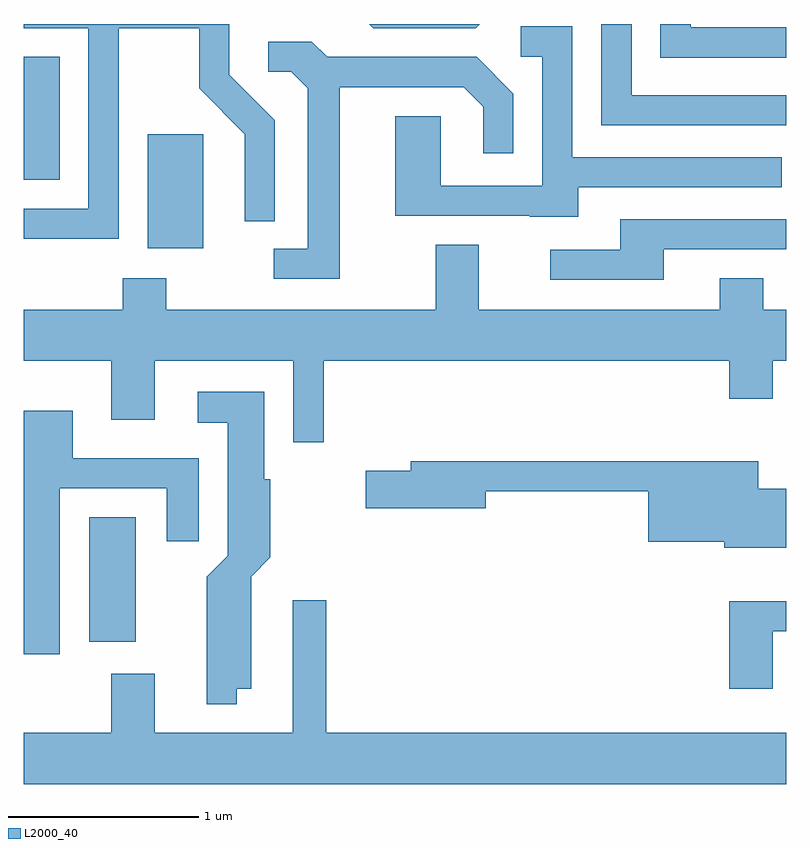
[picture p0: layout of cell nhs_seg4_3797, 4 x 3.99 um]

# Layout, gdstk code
import gdstk
lib = gdstk.Library(unit=1e-6, precision=1e-09)
def R(c, l, rs):  # rectangles x0, y0, x1, y1
    for r in rs: c.add(gdstk.rectangle(r[:2], r[2:], *l))
def P(c, l, *ps):  # polygons
    for p in ps: c.add(gdstk.Polygon(p, *l))
L2000_40 = (2000, 40)

nhs_seg4_3797 = lib.new_cell('nhs_seg4_3797')
R(nhs_seg4_3797, L2000_40, [(295.956,1368.741,296.199,1369.394), (296.261,1370.806,296.554,1371.404), (295.611,1371.166,295.799,1371.809)])
P(nhs_seg4_3797, L2000_40, [(299.611,1371.609),(298.799,1371.609),(298.799,1371.982),(298.641,1371.982),(298.641,1371.451),(299.611,1371.451)],
  [(298.003,1371.982),(297.423,1371.982),(297.444,1371.961),(297.982,1371.961)],
  [(296.109,1371.961),(296.531,1371.961),(296.531,1371.644),(296.771,1371.404),(296.771,1370.948),(296.929,1370.948),(296.929,1371.477),(296.689,1371.717),(296.689,1371.982),(295.611,1371.982),(295.611,1371.961),(295.951,1371.961),(295.951,1371.014),(295.611,1371.014),(295.611,1370.856),(296.109,1370.856)],
  [(299.611,1371.964),(299.109,1371.964),(299.109,1371.982),(298.951,1371.982),(298.951,1371.806),(299.611,1371.806)],
  [(298.519,1371.126),(299.588,1371.126),(299.588,1371.284),(298.489,1371.284),(298.489,1371.969),(298.218,1371.969),(298.218,1371.811),(298.331,1371.811),(298.331,1371.134),(297.799,1371.134),(297.799,1371.499),(297.561,1371.499),(297.561,1370.976),(298.265,1370.976),(298.265,1370.971),(298.519,1370.971)],
  [(297.269,1371.651),(297.919,1371.651),(298.021,1371.549),(298.021,1371.303),(298.179,1371.303),(298.179,1371.617),(297.987,1371.809),(297.202,1371.809),(297.122,1371.889),(296.893,1371.889),(296.893,1371.731),(297.014,1371.731),(297.101,1371.644),(297.101,1370.804),(296.923,1370.804),(296.923,1370.646),(297.269,1370.646)],
  [(298.969,1370.801),(299.611,1370.801),(299.611,1370.959),(298.741,1370.959),(298.741,1370.799),(298.373,1370.799),(298.373,1370.641),(298.969,1370.641)],
  [(297.184,1370.216),(299.311,1370.216),(299.311,1370.016),(299.539,1370.016),(299.539,1370.216),(299.611,1370.216),(299.611,1370.484),(299.489,1370.484),(299.489,1370.649),(299.261,1370.649),(299.261,1370.484),(297.999,1370.484),(297.999,1370.824),(297.771,1370.824),(297.771,1370.484),(296.359,1370.484),(296.359,1370.649),(296.131,1370.649),(296.131,1370.484),(295.611,1370.484),(295.611,1370.216),(296.071,1370.216),(296.071,1369.906),(296.299,1369.906),(296.299,1370.216),(297.026,1370.216),(297.026,1369.788),(297.184,1369.788)],
  [(296.729,1368.496),(296.804,1368.496),(296.804,1369.084),(296.904,1369.184),(296.904,1369.594),(296.874,1369.594),(296.874,1370.054),(296.523,1370.054),(296.523,1369.891),(296.681,1369.891),(296.681,1369.192),(296.571,1369.082),(296.571,1368.413),(296.729,1368.413)],
  [(295.799,1369.546),(296.361,1369.546),(296.361,1369.268),(296.529,1369.268),(296.529,1369.704),(295.869,1369.704),(295.869,1369.954),(295.611,1369.954),(295.611,1368.676),(295.799,1368.676)],
  [(299.611,1369.544),(299.464,1369.544),(299.464,1369.689),(297.641,1369.689),(297.641,1369.639),(297.406,1369.639),(297.406,1369.441),(298.034,1369.441),(298.034,1369.531),(298.886,1369.531),(298.886,1369.266),(299.286,1369.266),(299.286,1369.236),(299.611,1369.236)],
  [(299.611,1368.264),(297.199,1368.264),(297.199,1368.959),(297.021,1368.959),(297.021,1368.264),(296.299,1368.264),(296.299,1368.574),(296.071,1368.574),(296.071,1368.264),(295.611,1368.264),(295.611,1367.996),(299.611,1367.996)],
  [(299.539,1368.796),(299.611,1368.796),(299.611,1368.954),(299.311,1368.954),(299.311,1368.496),(299.539,1368.496)])

lib.write_gds('nhs_seg4_3797.gds')
